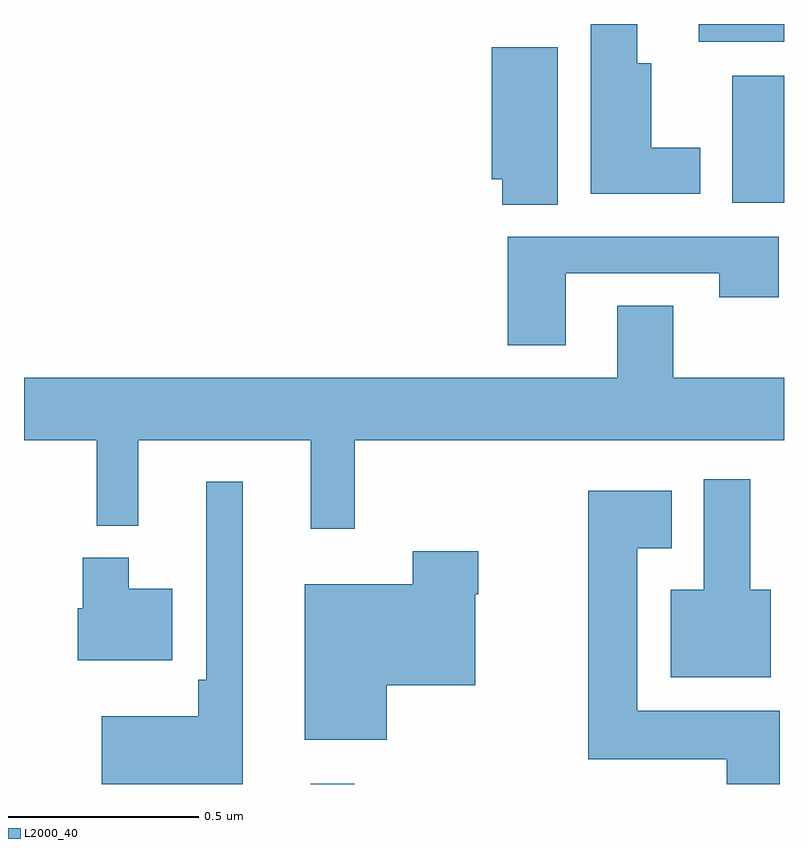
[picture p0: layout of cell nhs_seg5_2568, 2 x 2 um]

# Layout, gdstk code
import gdstk
lib = gdstk.Library(unit=1e-6, precision=1e-09)
def R(c, l, rs):  # rectangles x0, y0, x1, y1
    for r in rs: c.add(gdstk.rectangle(r[:2], r[2:], *l))
def P(c, l, *ps):  # polygons
    for p in ps: c.add(gdstk.Polygon(p, *l))
L2000_40 = (2000, 40)

nhs_seg5_2568 = lib.new_cell('nhs_seg5_2568')
R(nhs_seg5_2568, L2000_40, [(145.754,911.799,145.871,911.8), (146.864,913.328,147,913.663), (146.775,913.752,147,913.799)])
P(nhs_seg5_2568, L2000_40, [(146.779,913.474),(146.65,913.474),(146.65,913.696),(146.614,913.696),(146.614,913.799),(146.492,913.799),(146.492,913.352),(146.779,913.352)],
  [(146.404,913.738),(146.231,913.738),(146.231,913.391),(146.258,913.391),(146.258,913.324),(146.404,913.324)],
  [(146.425,913.143),(146.83,913.143),(146.83,913.08),(146.986,913.08),(146.986,913.239),(146.273,913.239),(146.273,912.954),(146.425,912.954)],
  [(145.871,912.704),(147,912.704),(147,912.868),(146.709,912.868),(146.709,913.058),(146.561,913.058),(146.561,912.868),(145,912.868),(145,912.704),(145.191,912.704),(145.191,912.479),(145.301,912.479),(145.301,912.704),(145.754,912.704),(145.754,912.471),(145.871,912.471)],
  [(146.965,912.31),(146.911,912.31),(146.911,912.601),(146.789,912.601),(146.789,912.31),(146.702,912.31),(146.702,912.08),(146.965,912.08)],
  [(145.576,912.595),(145.479,912.595),(145.479,912.073),(145.459,912.073),(145.459,911.977),(145.205,911.977),(145.205,911.799),(145.576,911.799)],
  [(146.989,911.992),(146.614,911.992),(146.614,912.419),(146.704,912.419),(146.704,912.571),(146.485,912.571),(146.485,911.864),(146.849,911.864),(146.849,911.799),(146.989,911.799)],
  [(145.954,912.059),(146.188,912.059),(146.188,912.299),(146.196,912.299),(146.196,912.412),(146.023,912.412),(146.023,912.325),(145.739,912.325),(145.739,911.915),(145.954,911.915)],
  [(145.39,912.313),(145.276,912.313),(145.276,912.394),(145.154,912.394),(145.154,912.261),(145.142,912.261),(145.142,912.125),(145.39,912.125)])

lib.write_gds('nhs_seg5_2568.gds')
